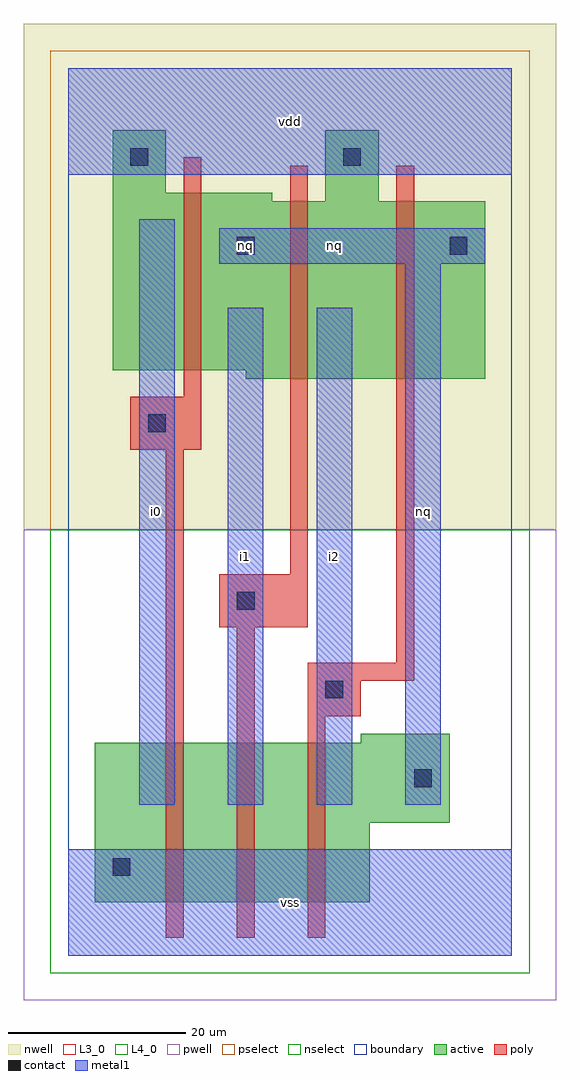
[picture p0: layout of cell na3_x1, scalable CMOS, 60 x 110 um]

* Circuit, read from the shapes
.subckt na3_x1 i0 i1 i2 nq vdd vss
M1 n1 i0 vss VSUBS nfet w=18u l=2u
M2 n2 i1 n1 VSUBS nfet w=18u l=2u
M3 nq i2 n2 VSUBS nfet w=18u l=2u
M4 nq i0 vdd n3 pfet w=20u l=2u
M5 vdd i1 nq n3 pfet w=20u l=2u
M6 nq i2 vdd n3 pfet w=20u l=2u
.ends

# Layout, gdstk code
import gdstk
lib = gdstk.Library(unit=1e-6, precision=1e-09)
def R(c, l, rs):  # rectangles x0, y0, x1, y1
    for r in rs: c.add(gdstk.rectangle(r[:2], r[2:], *l))
L3_0 = (3, 0)
L4_0 = (4, 0)
contact = (25, 0)
pwell = (41, 0)
nwell = (42, 0)
active = (43, 0)
pselect = (44, 0)
nselect = (45, 0)
poly = (46, 0)
metal1 = (49, 0)
boundary = (63, 0)

na3_x1 = lib.new_cell('na3_x1')
R(na3_x1, L3_0, [(3,6,34,15), (3,15,43,24), (33,24,43,25)])
R(na3_x1, L4_0, [(20,65,47,66), (5,66,47,85), (5,85,23,86), (29,85,35,93), (5,86,11,93)])
R(na3_x1, contact, [(5,9,7,11), (39,19,41,21), (29,29,31,31), (19,39,21,41), (9,59,11,61), (19,79,21,81), (43,79,45,81), (7,89,9,91), (31,89,33,91)])
R(na3_x1, pwell, [(-5,-5,55,48)])
R(na3_x1, nwell, [(-5,48,55,105)])
R(na3_x1, active, [(3,6,34,15), (3,15,43,24), (33,24,43,25), (20,65,47,66), (5,66,47,85), (5,85,23,86), (29,85,35,93), (5,86,11,93)])
R(na3_x1, pselect, [(-2,48,52,102)])
R(na3_x1, nselect, [(-2,-2,52,48)])
R(na3_x1, poly, [(11,2,13,57), (19,2,21,37), (27,2,29,27), (27,27,33,31), (27,31,39,33), (37,33,39,89), (17,37,27,43), (25,43,27,89), (7,57,15,63), (13,63,15,90)])
R(na3_x1, metal1, [(0,0,50,12), (8,17,12,83), (18,17,22,73), (28,17,32,73), (38,17,42,78), (17,78,47,82), (0,88,50,100)])
R(na3_x1, boundary, [(0,0,50,100)])
na3_x1.add(gdstk.Label('i1', (20,45), layer=49, texttype=0))
na3_x1.add(gdstk.Label('i0', (10,50), layer=49, texttype=0))
na3_x1.add(gdstk.Label('nq', (20,80), layer=49, texttype=0))
na3_x1.add(gdstk.Label('vss', (25,6), layer=49, texttype=0))
na3_x1.add(gdstk.Label('i2', (30,45), layer=49, texttype=0))
na3_x1.add(gdstk.Label('vdd', (25,94), layer=49, texttype=0))
na3_x1.add(gdstk.Label('nq', (30,80), layer=49, texttype=0))
na3_x1.add(gdstk.Label('nq', (40,50), layer=49, texttype=0))

lib.write_gds('na3_x1.gds')
